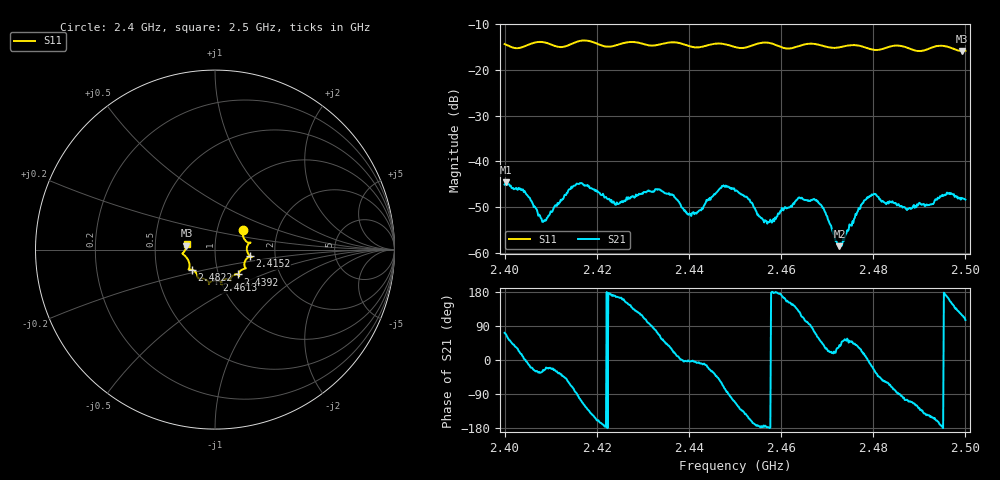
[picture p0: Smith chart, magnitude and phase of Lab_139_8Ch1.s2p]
# Hz S RI R 50
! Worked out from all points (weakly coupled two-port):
!   601 points, 2.4 GHz to 2.5 GHz, reference 50 ohm
!   highest |S21| = -44.58 dB at 2.4003 GHz (marker M1); lowest = -58.5 dB at 2.4727 GHz (marker M2)
!   lowest |S11| = -15.9 dB at 2.4993 GHz (marker M3), VSWR 1.38, Z = 36.3 + j1.57 ohm
!   |S11| at or under -10 dB: start of sweep to end of sweep
!   S12 and S22 are empty: the file has one direction only
!   S11 on the Smith chart (normalised r, x): 2.4 GHz: 1.33, +0.31; 2.4152 GHz: 1.48, -0.11; 2.4392 GHz: 1.24, -0.35; 2.4613 GHz: 0.96, -0.34; 2.4822 GHz: 0.76, -0.17; 2.5 GHz: 0.72, +0.05
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2.4e9  0.1561 0.1108  0.00176 0.0053  0 0  0 0
2.400333e9  0.1555 0.1063  0.00233 0.00542  0 0  0 0
2.404167e9  0.1733 0.0463  0.00462 0.00033  0 0  0 0
2.4085e9  0.1962 0.0393  0.00198 -0.00104  0 0  0 0
2.415167e9  0.1948 -0.036  0.000831 -0.00537  0 0  0 0
2.416667e9  0.2043 -0.0419  -0.00181 -0.00552  0 0  0 0
2.424333e9  0.1638 -0.0885  -0.00347 0.000819  0 0  0 0
2.433333e9  0.1329 -0.1325  0.00181 0.00463  0 0  0 0
2.439167e9  0.1271 -0.1385  0.00292 -0.00011  0 0  0 0
2.442167e9  0.0973 -0.1468  0.00288 -0.00031  0 0  0 0
2.447167e9  0.0857 -0.1729  0.00248 -0.0048  0 0  0 0
2.45e9  0.0686 -0.1641  -0.00176 -0.00443  0 0  0 0
2.456667e9  0.0394 -0.1948  -0.00224 -0.000213  0 0  0 0
2.461333e9  0.0078 -0.1707  -0.00283 0.00124  0 0  0 0
2.466667e9  -0.0333 -0.1901  0.000253 0.00376  0 0  0 0
2.469167e9  -0.0368 -0.1785  0.00235 0.00204  0 0  0 0
2.472667e9  -0.0735 -0.1603  0.000919 0.000749  0 0  0 0
2.4785e9  -0.0985 -0.1437  0.00385 0.0004  0 0  0 0
2.482167e9  -0.1279 -0.1121  0.00215 -0.00294  0 0  0 0
2.483333e9  -0.1392 -0.1105  0.00164 -0.00306  0 0  0 0
2.499333e9  -0.1589 0.0211  -0.00181 0.00353  0 0  0 0
2.5e9  -0.1586 0.0332  -0.00102 0.00369  0 0  0 0
